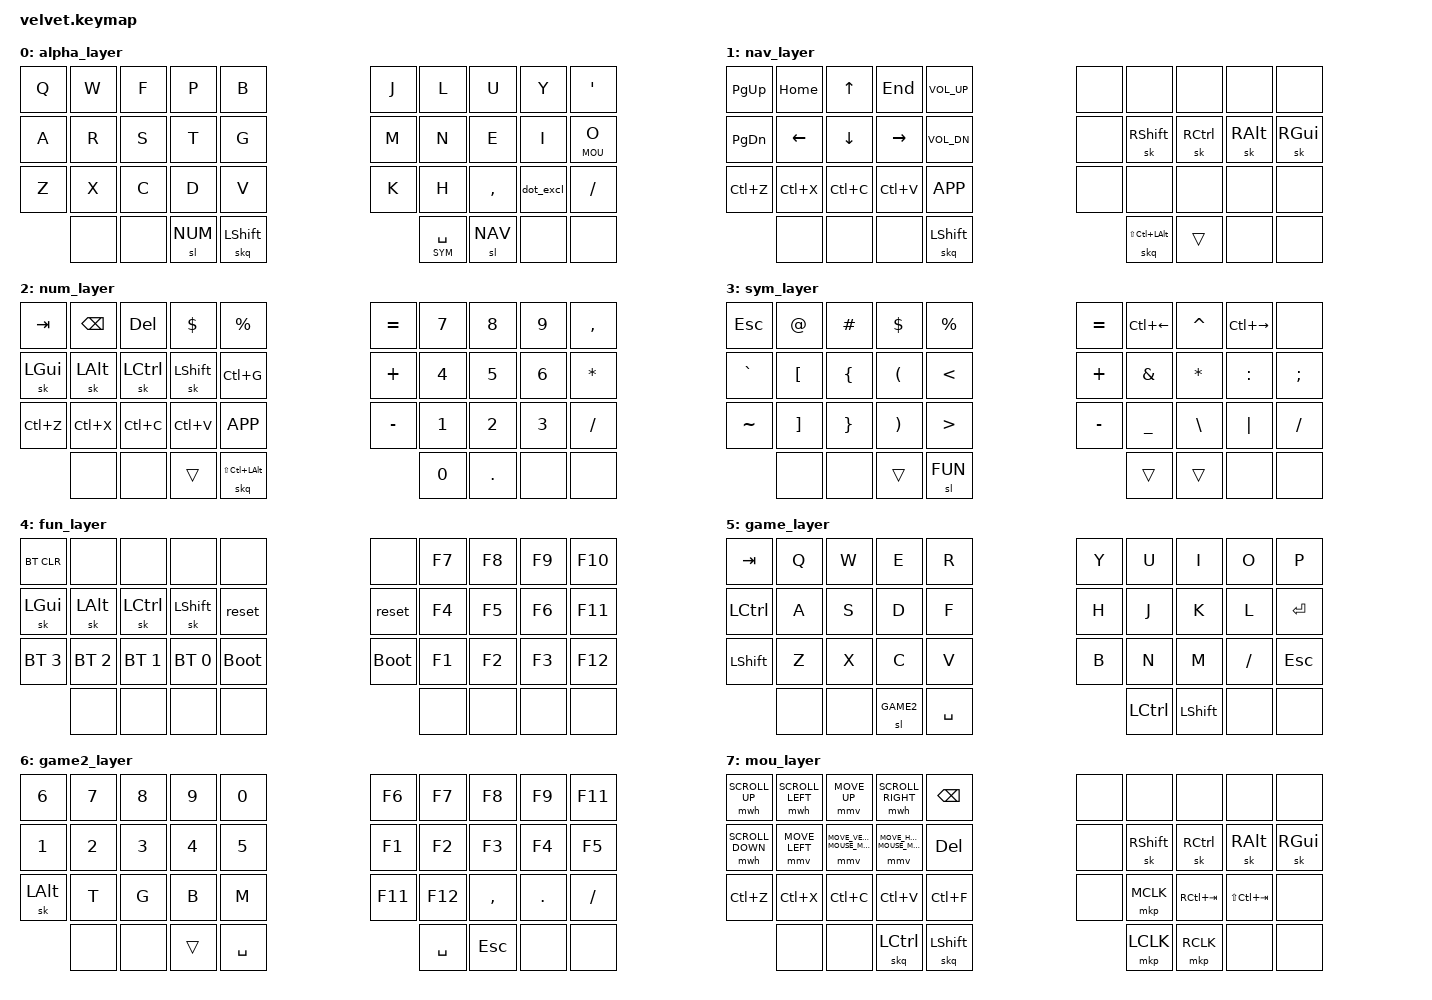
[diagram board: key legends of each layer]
/*
 * Copyright (c) 2020 The ZMK Contributors
 *
 * SPDX-License-Identifier: MIT
 */

#include <behaviors.dtsi>
#include <dt-bindings/zmk/keys.h>
#include <dt-bindings/zmk/bt.h>
#include <dt-bindings/zmk/mouse.h>


/* key assignments
  0  1  2  3  4       5  6  7  8  9
  10 11 12 13 14      15 16 17 18 19
  20 21 22 23 24      25 26 27 28 29
     30 31 32 33      34 35 36 37
*/

#define ALPHA 0
#define NAV 1
#define NUM 2
#define SYM 3
#define FUN 4
#define GAME 5
#define GAME2 6
#define MOU 7

#define U_MOUSE_MOVE_MAX 1800                     /* <--- New max speed setting (default: 600) */
#undef MOVE_UP
#undef MOVE_DOWN
#undef MOVE_LEFT
#undef MOVE_RIGHT
#define MOVE_UP MOVE_VERT(-U_MOUSE_MOVE_MAX)
#define MOVE_DOWN MOVE_VERT(U_MOUSE_MOVE_MAX)
#define MOVE_LEFT MOVE_HOR(-U_MOUSE_MOVE_MAX)
#define MOVE_RIGHT MOVE_HOR(U_MOUSE_MOVE_MAX)

&mmv {
	time-to-max-speed-ms = <400>;             /* <--- How long time until max speed is reached (default: 500) */
};

&mt {
    flavor = "tap-preferred";
    tapping_term_ms = <200>;
};

&sk {
    ignore-modifiers; //allows for calum-style modifers 
};



  
/ { 
  combos {
        #include "combos.dtsi"    //this directs to a list of combos
    };
   
        //this gives quick relese to any sticky key if it's labled &skq 
   behaviors {
      skq: sticky_key_quick_release {
        compatible = "zmk,behavior-sticky-key";
        label = "STICKY_KEY_QUICK_RELEASE";
        #binding-cells = <1>;
        bindings = <&kp>;
        release-after-ms = <300>;
        quick-release;
        };
    };
		//makes shift + period an exclimation mark
	behaviors {
		dot_excl: dot_excl {
			compatible = "zmk,behavior-mod-morph";
			label = "dot_excl";
			#binding-cells = <0>;
			bindings = <&kp DOT>, <&kp EXCL>;
			mods = <(MOD_LSFT|MOD_RSFT)>;
		};
	};
};    



/{
        keymap {
                compatible = "zmk,keymap";
                
       		alpha_layer {
		bindings = <
		&kp Q &kp W &kp F &kp P &kp B 						&kp J &kp L &kp U &kp Y &kp APOS 
		&kp A &kp R &kp S &kp T &kp G 			        	&kp M &kp N &kp E &kp I &lt MOU O
		&kp Z &kp X &kp C &kp D &kp V				        &kp K &kp H &kp COMMA  &dot_excl &kp SLASH
          	&none &none	&sl NUM &skq LSHFT                  &lt SYM SPC &sl NAV &none &none
		>;
		};

       		nav_layer {
		bindings = <
        &kp PG_UP   &kp HOME  &kp UP    &kp END    &kp C_VOL_UP       &none &none &none &none &none
        &kp PG_DN   &kp LEFT  &kp DOWN  &kp RIGHT  &kp C_VOL_DN       &none &sk RSHFT  &sk RCTRL  &sk RALT  &sk RGUI 
        &kp LC(Z)   &kp LC(X) &kp LC(C) &kp LC(V)  &kp K_APP          &none &none &none &none &none
                          &none &none  &none &skq LSHFT        &skq LS(LC(LALT)) &trans &none &none
        >;
		};
		
		    num_layer {
		bindings = <
		&kp TAB   &kp BSPC  &kp DEL    &kp DLLR    &kp PRCNT   	            	&kp EQUAL  &kp N7 &kp N8 &kp N9 &kp COMMA 
		&sk LGUI  &sk LALT  &sk LCTRL  &sk LSHFT   &kp LC(G) 					&kp PLUS   &kp N4 &kp N5 &kp N6 &kp ASTRK
		&kp LC(Z) &kp LC(X) &kp LC(C)  &kp LC(V)   &kp K_APP  		       		&kp MINUS  &kp N1 &kp N2 &kp N3 &kp SLASH
					        &none &none &trans &skq LS(LC(LALT))            &kp N0  &kp DOT &none &none
		>;
		};	
		
		    sym_layer {
		bindings = <
		&kp ESC   &kp AT    &kp HASH  &kp DLLR  &kp PRCNT    	&kp EQUAL  &kp LC(LEFT)  &kp CARET &kp LC(RIGHT) &none 
		&kp GRAVE &kp LBKT  &kp LBRC  &kp LPAR  &kp LT 	        &kp PLUS   &kp AMPS      &kp ASTRK &kp COLON     &kp SEMI
		&kp TILDE &kp RBKT  &kp RBRC  &kp RPAR  &kp GT   		&kp MINUS  &kp UNDER     &kp BSLH  &kp PIPE      &kp SLASH
					&none &none  &trans  &sl FUN      	       &trans &trans  &none &none
		>;
		};	

            fun_layer {
		bindings = <
		&bt BT_CLR   &none        &none        &none        &none    		 &none       &kp F7  &kp F8  &kp F9 &kp F10
		&sk LGUI     &sk LALT     &sk LCTRL    &sk LSHFT    &reset           &reset      &kp F4  &kp F5  &kp F6 &kp F11
		&bt BT_SEL 3 &bt BT_SEL 2 &bt BT_SEL 1 &bt BT_SEL 0 &bootloader      &bootloader &kp F1  &kp F2  &kp F3 &kp F12  
					   &none &none  &none &none                   		    &none &none &none &none
		>;
		};
    
            game_layer {
		bindings = <
		&kp TAB   &kp Q  &kp W  &kp E  &kp R 					    &kp Y &kp U &kp I &kp O &kp P 
		&kp LCTRL &kp A  &kp S  &kp D  &kp F 			        	&kp H &kp J &kp K &kp L &kp RET
		&kp LSHFT &kp Z  &kp X  &kp C  &kp V				        &kp B &kp N &kp M &kp SLASH &kp ESC
          	&none &none &sl GAME2 &kp SPACE                   &kp LCTRL &kp LSHIFT &none &none
		>;
		};

            game2_layer {
		bindings = <
		&kp N6    &kp N7 &kp N8 &kp N9 &kp N0						&kp F6 &kp F7 &kp F8 &kp F9 &kp F11 
		&kp N1    &kp N2 &kp N3 &kp N4 &kp N5			        	&kp F1 &kp F2 &kp F3 &kp F4 &kp F5
		&sk LALT  &kp T  &kp G  &kp B  &kp M 				        &kp F11 &kp F12 &kp COMMA &kp DOT &kp SLASH
          	        &none &none &trans &kp SPACE                 &kp SPC &kp ESC &none &none
		>;
		};

       		mou_layer {
		bindings = <
        &mwh SCROLL_UP   &mwh SCROLL_LEFT  &mmv MOVE_UP    &mwh SCROLL_RIGHT &kp BSPC       &none 		&none 	   &none 	 &none 		&none 
        &mwh SCROLL_DOWN   &mmv MOVE_LEFT  &mmv MOVE_DOWN  &mmv MOVE_RIGHT 	 &kp DEL      &none  &sk RSHFT  &sk RCTRL 	&sk RALT   &sk RGUI 
        &kp LC(Z)   &kp LC(X) &kp LC(C) &kp LC(V)  &kp LC(F)          					 &none 	&mkp MCLK  &kp RC(TAB)	&kp LS(LC(TAB)) &none 
                         &none &none  &skq LCTRL   &skq LSHFT             		&mkp LCLK  &mkp RCLK &none &none
        >;
		};
	};
};
